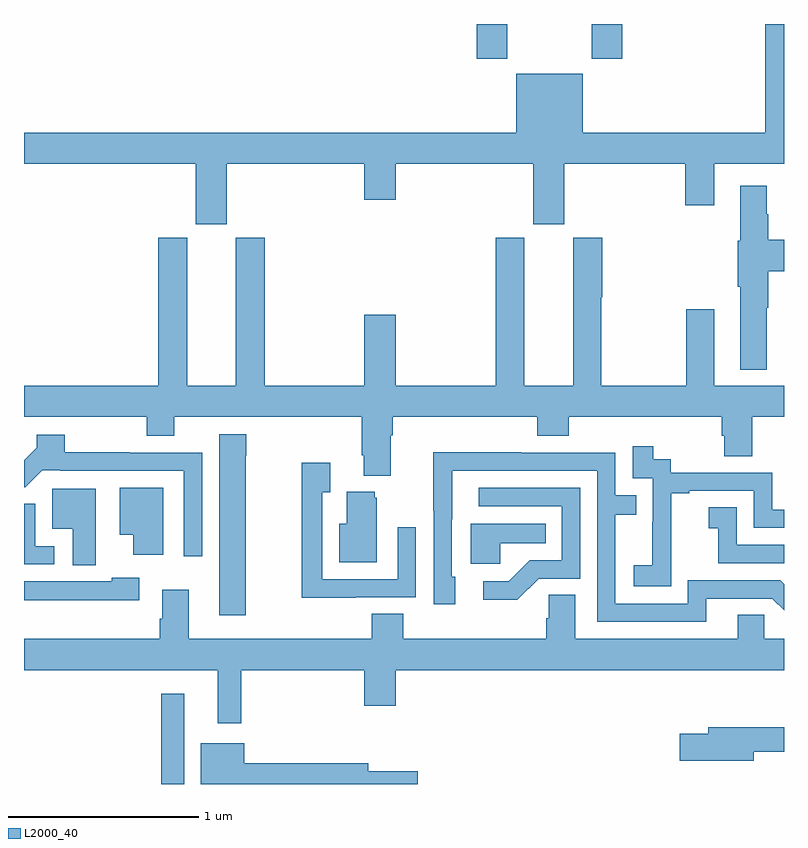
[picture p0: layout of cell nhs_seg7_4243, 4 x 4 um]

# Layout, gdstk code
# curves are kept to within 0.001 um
import gdstk
lib = gdstk.Library(unit=1e-6, precision=1e-09)
def R(c, l, rs):  # rectangles x0, y0, x1, y1
    for r in rs: c.add(gdstk.rectangle(r[:2], r[2:], *l))
def P(c, l, *ps):  # polygons
    for p in ps: c.add(gdstk.Polygon(p, *l))
L2000_40 = (2000, 40)

nhs_seg7_4243 = lib.new_cell('nhs_seg7_4243')
R(nhs_seg7_4243, L2000_40, [(379.722,1016,379.843,1016.476), (381.383,1019.817,381.543,1020), (381.988,1019.817,382.148,1020)])
P(nhs_seg7_4243, L2000_40, [(381.68,1018.947),(381.844,1018.947),(381.844,1019.264),(382.481,1019.264),(382.481,1019.046),(382.633,1019.046),(382.633,1019.264),(383,1019.264),(383,1020),(382.901,1020),(382.901,1019.428),(381.94,1019.428),(381.94,1019.737),(381.59,1019.737),(381.59,1019.428),(379,1019.428),(379,1019.264),(379.904,1019.264),(379.904,1018.947),(380.068,1018.947),(380.068,1019.264),(380.792,1019.264),(380.792,1019.076),(380.956,1019.076),(380.956,1019.264),(381.68,1019.264)],
  [(382.909,1018.507),(382.917,1018.507),(382.917,1018.7),(383,1018.7),(383,1018.864),(382.917,1018.864),(382.917,1018.998),(382.909,1018.998),(382.909,1019.149),(382.769,1019.149),(382.769,1018.86),(382.757,1018.86),(382.757,1018.616),(382.769,1018.616),(382.769,1018.181),(382.909,1018.181)],
  [(380.929,1017.836),(380.942,1017.836),(380.942,1017.932),(381.701,1017.932),(381.701,1017.833),(381.866,1017.833),(381.866,1017.932),(382.673,1017.932),(382.673,1017.834),(382.685,1017.834),(382.685,1017.724),(382.833,1017.724),(382.833,1017.932),(383,1017.932),(383,1018.096),(382.633,1018.096),(382.633,1018.498),(382.486,1018.498),(382.486,1018.096),(382.038,1018.096),(382.038,1018.563),(382.043,1018.563),(382.043,1018.875),(381.89,1018.875),(381.89,1018.096),(381.634,1018.096),(381.634,1018.875),(381.482,1018.875),(381.482,1018.096),(380.956,1018.096),(380.956,1018.471),(380.792,1018.471),(380.792,1018.096),(380.267,1018.096),(380.267,1018.875),(380.114,1018.875),(380.114,1018.096),(379.858,1018.096),(379.858,1018.875),(379.706,1018.875),(379.706,1018.096),(379,1018.096),(379,1017.932),(379.645,1017.932),(379.645,1017.833),(379.792,1017.833),(379.792,1017.932),(380.777,1017.932),(380.777,1017.73),(380.789,1017.73),(380.789,1017.623),(380.929,1017.623)],
  [(380.166,1017.728),(380.171,1017.728),(380.171,1017.841),(380.027,1017.841),(380.027,1016.889),(380.166,1016.889)],
  [(379.938,1017.744),(379.556,1017.744),(379.556,1017.746),(379.215,1017.746),(379.215,1017.838),(379.067,1017.838),(379.067,1017.77),(379,1017.703),(379,1017.561),(379.006,1017.561),(379.096,1017.651),(379.192,1017.651),(379.192,1017.648),(379.842,1017.648),(379.842,1017.198),(379.938,1017.198)],
  [(382.407,1017.247),(382.406,1017.247),(382.406,1017.531),(382.501,1017.531),(382.501,1017.543),(382.842,1017.543),(382.842,1017.348),(383,1017.348),(383,1017.444),(382.938,1017.444),(382.938,1017.639),(382.404,1017.639),(382.404,1017.708),(382.312,1017.708),(382.312,1017.778),(382.203,1017.778),(382.203,1017.609),(382.308,1017.609),(382.308,1017.38),(382.307,1017.38),(382.307,1017.151),(382.209,1017.151),(382.209,1017.041),(382.407,1017.041)],
  [(382.591,1016.976),(382.938,1016.976),(383,1016.914),(383,1017.052),(382.98,1017.072),(382.494,1017.072),(382.494,1016.949),(382.113,1016.949),(382.113,1017.418),(382.223,1017.418),(382.223,1017.519),(382.113,1017.519),(382.113,1017.744),(381.617,1017.744),(381.617,1017.746),(381.154,1017.746),(381.154,1017.439),(381.156,1017.439),(381.156,1016.946),(381.271,1016.946),(381.271,1017.09),(381.252,1017.09),(381.253,1017.648),(382.017,1017.648),(382.017,1016.853),(382.591,1016.853)],
  [(380.747,1016.982),(381.063,1016.982),(381.063,1017.352),(380.967,1017.352),(380.967,1017.078),(380.571,1017.078),(380.571,1017.535),(380.611,1017.535),(380.611,1017.691),(380.463,1017.691),(380.463,1016.981),(380.747,1016.981)],
  [(379.732,1017.559),(379.505,1017.559),(379.505,1017.311),(379.574,1017.311),(379.574,1017.207),(379.732,1017.207)],
  [(381.708,1017.081),(381.927,1017.081),(381.927,1017.558),(381.393,1017.558),(381.393,1017.462),(381.831,1017.462),(381.831,1017.177),(381.662,1017.177),(381.551,1017.066),(381.417,1017.066),(381.417,1016.969),(381.595,1016.969)],
  [(379.378,1017.553),(379.148,1017.553),(379.148,1017.344),(379.256,1017.344),(379.256,1017.152),(379.378,1017.152)],
  [(380.857,1017.507),(380.846,1017.507),(380.846,1017.538),(380.699,1017.538),(380.699,1017.37),(380.66,1017.37),(380.66,1017.167),(380.857,1017.167)],
  [(379.159,1017.252),(379.06,1017.252),(379.06,1017.476),(379,1017.476),(379,1017.156),(379.159,1017.156)],
  [(383,1017.258),(382.752,1017.258),(382.752,1017.457),(382.605,1017.457),(382.605,1017.347),(382.654,1017.347),(382.654,1017.162),(383,1017.162)],
  [(381.507,1017.266),(381.746,1017.266),(381.746,1017.37),(381.35,1017.37),(381.35,1017.158),(381.507,1017.158)],
  [(379.606,1017.085),(379.461,1017.085),(379.461,1017.067),(379,1017.067),(379,1016.966),(379.606,1016.966)],
  [(380.143,1016.6),(380.792,1016.6),(380.792,1016.412),(380.956,1016.412),(380.956,1016.6),(383,1016.6),(383,1016.764),(382.896,1016.764),(382.896,1016.891),(382.757,1016.891),(382.757,1016.764),(381.901,1016.764),(381.901,1016.996),(381.762,1016.996),(381.762,1016.873),(381.749,1016.873),(381.749,1016.764),(380.996,1016.764),(380.996,1016.897),(380.831,1016.897),(380.831,1016.764),(379.867,1016.764),(379.867,1017.022),(379.727,1017.022),(379.727,1016.87),(379.715,1016.87),(379.715,1016.764),(379,1016.764),(379,1016.6),(380.021,1016.6),(380.021,1016.319),(380.143,1016.319)],
  [(382.84,1016.17),(383,1016.17),(383,1016.299),(382.601,1016.299),(382.601,1016.265),(382.452,1016.265),(382.452,1016.123),(382.84,1016.123)],
  [(381.073,1016.067),(380.812,1016.067),(380.812,1016.108),(380.158,1016.108),(380.158,1016.215),(379.931,1016.215),(379.931,1016),(381.073,1016)])

lib.write_gds('nhs_seg7_4243.gds')
